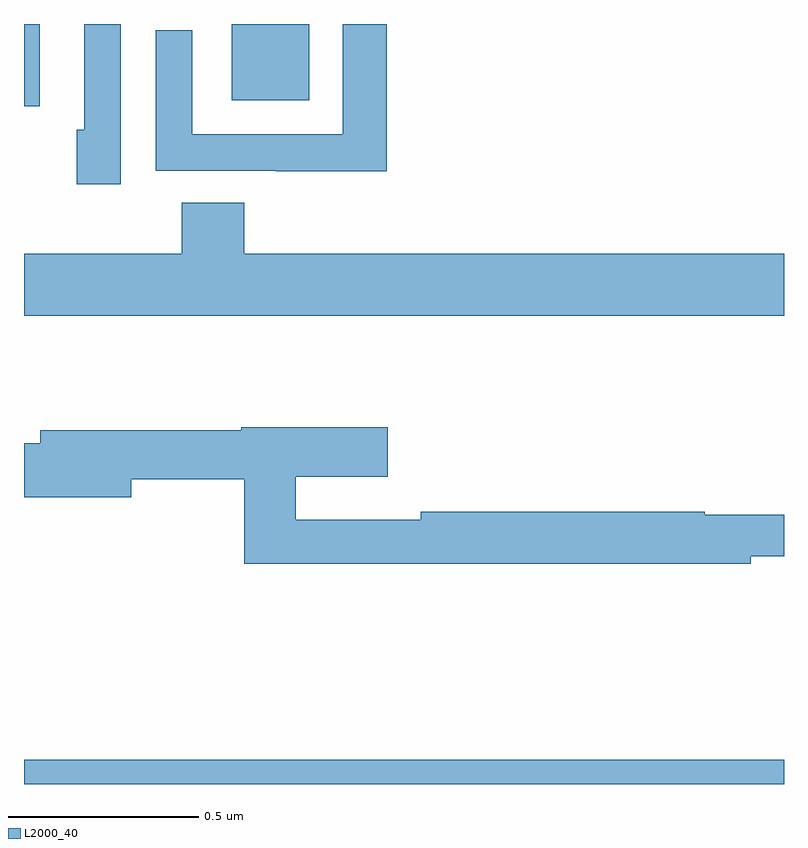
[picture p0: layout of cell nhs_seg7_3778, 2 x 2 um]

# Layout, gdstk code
import gdstk
lib = gdstk.Library(unit=1e-6, precision=1e-09)
def R(c, l, rs):  # rectangles x0, y0, x1, y1
    for r in rs: c.add(gdstk.rectangle(r[:2], r[2:], *l))
def P(c, l, *ps):  # polygons
    for p in ps: c.add(gdstk.Polygon(p, *l))
L2000_40 = (2000, 40)

nhs_seg7_3778 = lib.new_cell('nhs_seg7_3778')
R(nhs_seg7_3778, L2000_40, [(163,1050,165,1050.064), (163,1051.783,163.042,1052), (163.547,1051.799,163.75,1052)])
P(nhs_seg7_3778, L2000_40, [(163.254,1052),(163.158,1052),(163.158,1051.722),(163.139,1051.722),(163.139,1051.578),(163.254,1051.578)],
  [(163.955,1052),(163.839,1052),(163.839,1051.71),(163.443,1051.71),(163.443,1051.984),(163.347,1051.984),(163.347,1051.614),(163.663,1051.614),(163.663,1051.613),(163.955,1051.613)],
  [(165,1051.396),(163.58,1051.396),(163.58,1051.529),(163.415,1051.529),(163.415,1051.396),(163,1051.396),(163,1051.232),(165,1051.232)],
  [(164.912,1050.599),(165,1050.599),(165,1050.709),(164.792,1050.709),(164.792,1050.716),(164.044,1050.716),(164.044,1050.696),(163.715,1050.696),(163.715,1050.809),(163.957,1050.809),(163.957,1050.939),(163.572,1050.939),(163.572,1050.931),(163.043,1050.931),(163.043,1050.897),(163,1050.897),(163,1050.755),(163.282,1050.755),(163.282,1050.802),(163.579,1050.802),(163.579,1050.58),(164.912,1050.58)])

lib.write_gds('nhs_seg7_3778.gds')
